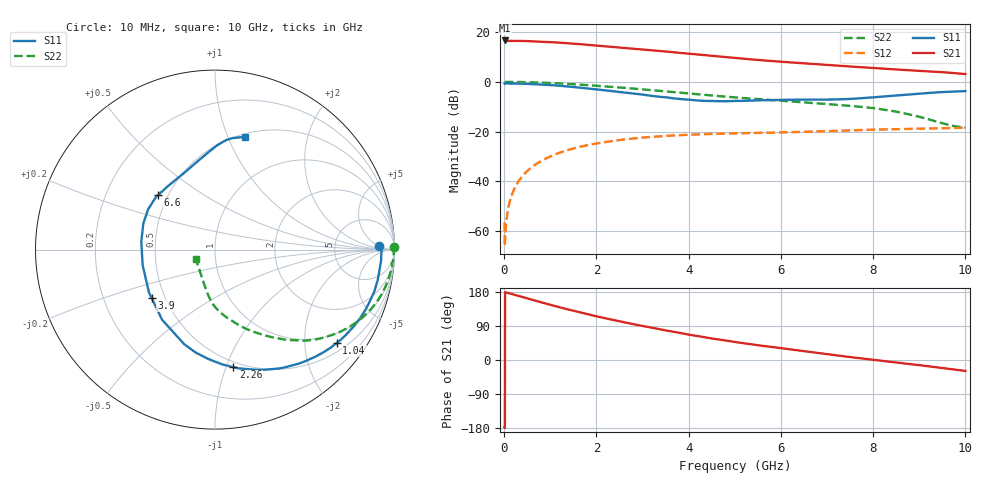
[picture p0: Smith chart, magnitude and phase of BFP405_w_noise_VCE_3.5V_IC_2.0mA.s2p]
! Infineon Technologies  Discrete & RF Semiconductors
! BFP405
! VCE =  3.5 V,  IC =  2.0 mA
! Common Emitter S-Parameters:  Jan 2016
# GHz  S  MA  R  50
!  f  S11  S21  S12  S22
! GHz  MAG  ANG  MAG  ANG  MAG  ANG  MAG  ANG
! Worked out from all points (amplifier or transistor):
!   233 points, 10 MHz to 10 GHz, reference 50 ohm
!   highest |S21| = 16.6 dB at 10 MHz (marker M1)
!   |S21| within 3 dB of that: start of sweep to 2.595 GHz
!   unconditionally stable (mu >= 1): 14.91 MHz to 15.08 MHz; 4.456 GHz to end of sweep
!   at 200 MHz: K = 0.06, MSG = 30.2 dB, |S12| = -43.9 dB
!   at 1.74 GHz: K = 0.31, MSG = 20.3 dB, |S12| = -25.7 dB
!   at 10 GHz: K = 1.68, MAG = 6.0 dB, |S12| = -18.4 dB
!   lowest NFmin = 0.86 dB at 900 MHz
!   S11 on the Smith chart (normalised r, x): 10 MHz: 22, +5; 1.04 GHz: 0.72, -2.78; 2.26 GHz: 0.45, -1.06; 3.9 GHz: 0.42, -0.28; 6.6 GHz: 0.44, +0.33; 10 GHz: 0.53, +1.16
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0.01  0.9161 1.1  6.774 -177.5  0.0015 -47.5  1 0.8
0.015  0.9222 0.3  6.713 -179.4  0.0005 -22.5  0.9962 0.5
0.02  0.9284 -0.5  6.659 178.7  0.0007 92.7  0.9924 0.2
0.055  0.9267 -2.1  6.623 178.1  0.0018 87.8  0.9961 -0.7
0.09  0.9274 -3.2  6.652 176.5  0.003 84.8  0.9965 -1.5
0.24  0.9228 -8.5  6.65 171.5  0.0078 84.5  0.9872 -4.4
0.5  0.9106 -18.0  6.578 162.6  0.0161 80.6  0.9824 -8.9
0.8  0.8838 -28.9  6.419 152.4  0.0256 74.9  0.964 -14.3
1.04  0.8552 -37.5  6.246 144.3  0.0329 70.3  0.9437 -18.5
1.38  0.8059 -49.6  5.953 133.5  0.0426 64.0  0.9087 -24.1
1.68  0.7581 -60.4  5.671 124.5  0.0504 58.5  0.8735 -28.7
1.96  0.7109 -70.3  5.391 116.4  0.057 53.8  0.839 -32.7
2.26  0.663 -81.1  5.102 108.4  0.0632 48.9  0.8011 -36.7
2.84  0.5769 -102.1  4.59 93.7  0.0735 40.4  0.7272 -44.0
3.4  0.4978 -122.8  4.13 80.6  0.0809 32.8  0.6542 -50.4
3.9  0.4442 -142.7  3.753 69.4  0.0857 26.9  0.5935 -55.8
4.5  0.4123 -167.7  3.339 56.8  0.0901 20.8  0.5304 -62.2
5.1  0.4134 171.1  2.961 45.8  0.0927 15.9  0.4785 -68.0
6.6  0.4389 136.2  2.321 21.8  0.0996 7.6  0.3809 -80.6
6.8  0.4381 131.5  2.251 18.6  0.1008 6.6  0.369 -82.3
8.4  0.524 96.9  1.795 -5.2  0.1115 -2.5  0.2613 -97.8
10  0.6512 74.9  1.432 -28.8  0.1197 -11.0  0.1198 -154.2
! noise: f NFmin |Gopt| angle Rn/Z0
0.9  0.86  0.58  15  0.42
1.8  1.21  0.46  27  0.37
2.4  1.43  0.38  38  0.36
3  1.47  0.38  52  0.33
4  1.69  0.25  80  0.26
5  2.05  0.21  114  0.21
